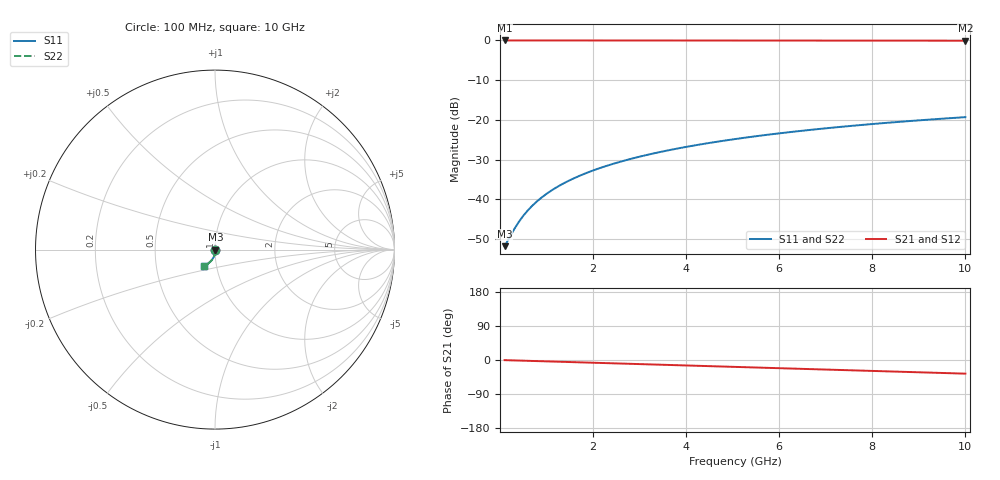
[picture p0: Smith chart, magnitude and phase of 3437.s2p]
# Hz S RI R 50.00
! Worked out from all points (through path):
!   100 points, 100 MHz to 10 GHz, reference 50 ohm
!   highest |S21| = -0.02 dB at 100 MHz (marker M1); lowest = -0.1 dB at 10 GHz (marker M2)
!   group delay of S21, straight-line fit = 10 ps
!   lowest |S11| = -51.8 dB at 100 MHz (marker M3), VSWR 1.01, Z = 50.2 - j0.117 ohm
!   |S11| at or under -10 dB: start of sweep to end of sweep
!   |S22| runs from -51.8 to -19.3 dB; largest |S21 - S12| = 0
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1e8  0.0023 -0.00117  0.9977 -0.00627  0.9977 -0.00627  0.0023 -0.00117
3e8  0.00227 -0.0035  0.9975 -0.0188  0.9975 -0.0188  0.00227 -0.0035
4e8  0.00222 -0.00466  0.9973 -0.0251  0.9973 -0.0251  0.00222 -0.00466
5e8  0.00216 -0.00583  0.9971 -0.0313  0.9971 -0.0313  0.00216 -0.00583
6e8  0.00208 -0.00699  0.9969 -0.0376  0.9969 -0.0376  0.00208 -0.00699
7e8  0.00199 -0.00815  0.9966 -0.0439  0.9966 -0.0439  0.00199 -0.00815
8e8  0.00188 -0.00931  0.9963 -0.0501  0.9963 -0.0501  0.00188 -0.00931
1e9  0.00163 -0.0116  0.9955 -0.0626  0.9955 -0.0626  0.00163 -0.0116
1.2e9  0.00131 -0.0139  0.9946 -0.0751  0.9946 -0.0751  0.00131 -0.0139
1.5e9  0.000723 -0.0174  0.993 -0.0939  0.993 -0.0939  0.000723 -0.0174
1.8e9  6.5e-06 -0.0208  0.9909 -0.1126  0.9909 -0.1126  6.5e-06 -0.0208
2.1e9  -0.000839 -0.0242  0.9885 -0.1312  0.9885 -0.1312  -0.000839 -0.0242
2.5e9  -0.00216 -0.0287  0.9848 -0.156  0.9848 -0.156  -0.00216 -0.0287
2.9e9  -0.00371 -0.0331  0.9804 -0.1807  0.9804 -0.1807  -0.00371 -0.0331
3.4e9  -0.00596 -0.0385  0.974 -0.2114  0.974 -0.2114  -0.00596 -0.0385
4.2e9  -0.0102 -0.0469  0.9617 -0.26  0.9617 -0.26  -0.0102 -0.0469
5.1e9  -0.016 -0.0557  0.9448 -0.3138  0.9448 -0.3138  -0.016 -0.0557
5.9e9  -0.022 -0.0629  0.9273 -0.3607  0.9273 -0.3607  -0.022 -0.0629
6.7e9  -0.0286 -0.0695  0.9074 -0.4066  0.9074 -0.4066  -0.0286 -0.0695
7.5e9  -0.0359 -0.0755  0.8851 -0.4514  0.8851 -0.4514  -0.0359 -0.0755
8.4e9  -0.0448 -0.0812  0.8574 -0.5003  0.8574 -0.5003  -0.0448 -0.0812
1e10  -0.0618 -0.0888  0.8015 -0.5828  0.8015 -0.5828  -0.0618 -0.0888
